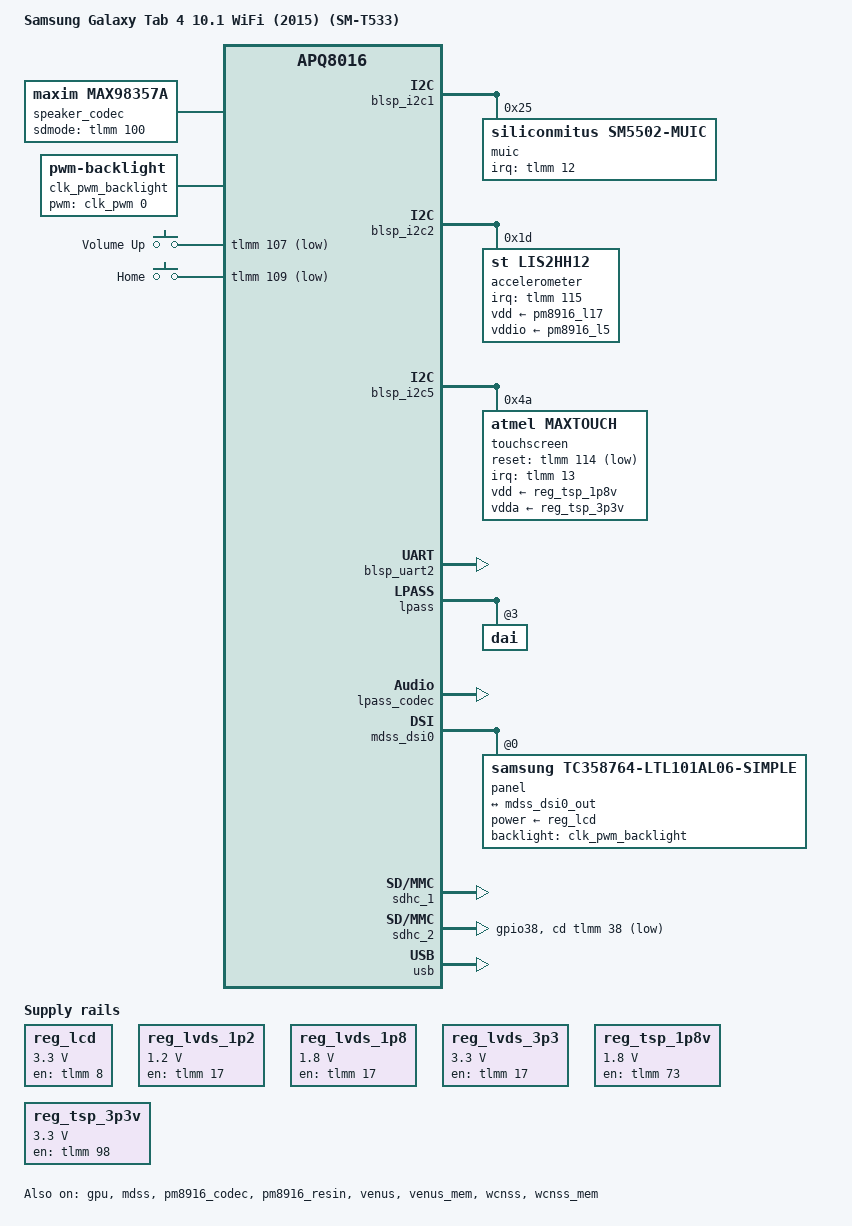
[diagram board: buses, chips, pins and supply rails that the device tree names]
// SPDX-License-Identifier: GPL-2.0-only

/dts-v1/;

#include "msm8916-pm8916.dtsi"
#include <dt-bindings/gpio/gpio.h>
#include <dt-bindings/input/input.h>
#include <dt-bindings/interrupt-controller/irq.h>
#include <dt-bindings/sound/apq8016-lpass.h>

/ {
	model = "Samsung Galaxy Tab 4 10.1 WiFi (2015) (SM-T533)";
	compatible = "samsung,matissevewifi", "qcom,apq8016";
	chassis-type = "tablet";

	aliases {
		mmc0 = &sdhc_1; /* eMMC */
		mmc1 = &sdhc_2; /* SD card */
		serial0 = &blsp_uart2;
	};

	chosen {
		stdout-path = "serial0";
	};

	reserved-memory {
		/* Additional memory used by Samsung firmware modifications */
		tz-apps@85500000 {
			reg = <0x0 0x85500000 0x0 0xb00000>;
			no-map;
		};
	};

	speaker_codec: audio-codec {
		compatible = "maxim,max98357a";
		sdmode-gpios = <&tlmm 100 GPIO_ACTIVE_HIGH>;
		#sound-dai-cells = <0>;
	};

	clk_pwm_backlight: backlight {
		compatible = "pwm-backlight";
		pwms = <&clk_pwm 0 100000>;

		brightness-levels = <0 255>;
		num-interpolated-steps = <255>;
		default-brightness-level = <128>;
	};

	clk_pwm: pwm {
		compatible = "clk-pwm";
		#pwm-cells = <2>;

		clocks = <&gcc GCC_GP3_CLK>;

		pinctrl-0 = <&backlight_pwm_default>;
		pinctrl-names = "default";
	};

	gpio-keys {
		compatible = "gpio-keys";

		pinctrl-0 = <&gpio_keys_default>;
		pinctrl-names = "default";

		label = "GPIO Buttons";

		volume-up-button {
			label = "Volume Up";
			gpios = <&tlmm 107 GPIO_ACTIVE_LOW>;
			linux,code = <KEY_VOLUMEUP>;
		};

		home-button {
			label = "Home";
			gpios = <&tlmm 109 GPIO_ACTIVE_LOW>;
			linux,code = <KEY_HOMEPAGE>;
		};
	};

	reg_lcd: regulator-lcd {
		compatible = "regulator-fixed";
		regulator-name = "lcd";
		regulator-min-microvolt = <3300000>;
		regulator-max-microvolt = <3300000>;
		regulator-boot-on;

		gpio = <&tlmm 8 GPIO_ACTIVE_HIGH>;
		enable-active-high;
		startup-delay-us = <500>;

		pinctrl-0 = <&lcd_en_default>;
		pinctrl-names = "default";
	};

	reg_lvds_1p2: regulator-lvds-1p2 {
		compatible = "regulator-fixed";
		regulator-name = "lvds_1p2";
		regulator-min-microvolt = <1200000>;
		regulator-max-microvolt = <1200000>;

		/* FIXME: Set up TC358764 DSI->LVDS bridge properly */
		regulator-always-on;
		regulator-boot-on;

		gpio = <&tlmm 17 GPIO_ACTIVE_HIGH>;
		enable-active-high;
		startup-delay-us = <200>;

		pinctrl-0 = <&lvds_en_default>;
		pinctrl-names = "default";
	};

	reg_lvds_1p8: regulator-lvds-1p8 {
		compatible = "regulator-fixed";
		regulator-name = "lvds_1p8";
		regulator-min-microvolt = <1800000>;
		regulator-max-microvolt = <1800000>;

		/* FIXME: Set up TC358764 DSI->LVDS bridge properly */
		regulator-always-on;
		regulator-boot-on;
		startup-delay-us = <200>;

		gpio = <&tlmm 17 GPIO_ACTIVE_HIGH>;
		enable-active-high;
	};

	reg_lvds_3p3: regulator-lvds-3p3 {
		compatible = "regulator-fixed";
		regulator-name = "lvds_3p3";
		regulator-min-microvolt = <3300000>;
		regulator-max-microvolt = <3300000>;

		/* FIXME: Set up TC358764 DSI->LVDS bridge properly */
		regulator-always-on;
		regulator-boot-on;
		startup-delay-us = <200>;

		gpio = <&tlmm 17 GPIO_ACTIVE_HIGH>;
		enable-active-high;
	};

	reg_tsp_1p8v: regulator-tsp-1p8v {
		compatible = "regulator-fixed";
		regulator-name = "tsp_1p8v";
		regulator-min-microvolt = <1800000>;
		regulator-max-microvolt = <1800000>;

		gpio = <&tlmm 73 GPIO_ACTIVE_HIGH>;
		enable-active-high;

		pinctrl-0 = <&tsp_en_default>;
		pinctrl-names = "default";
	};

	reg_tsp_3p3v: regulator-tsp-3p3v {
		compatible = "regulator-fixed";
		regulator-name = "tsp_3p3v";
		regulator-min-microvolt = <3300000>;
		regulator-max-microvolt = <3300000>;

		gpio = <&tlmm 98 GPIO_ACTIVE_HIGH>;
		enable-active-high;

		pinctrl-0 = <&tsp_en1_default>;
		pinctrl-names = "default";
	};
};

&blsp_i2c1 {
	status = "okay";

	muic: extcon@25 {
		compatible = "siliconmitus,sm5502-muic";
		reg = <0x25>;
		interrupt-parent = <&tlmm>;
		interrupts = <12 IRQ_TYPE_EDGE_FALLING>;
		pinctrl-0 = <&muic_int_default>;
		pinctrl-names = "default";
	};
};

&blsp_i2c2 {
	status = "okay";

	accelerometer@1d {
		compatible = "st,lis2hh12";
		reg = <0x1d>;

		interrupt-parent = <&tlmm>;
		interrupts = <115 IRQ_TYPE_LEVEL_HIGH>;
		interrupt-names = "INT1";

		vdd-supply = <&pm8916_l17>;
		vddio-supply = <&pm8916_l5>;

		st,drdy-int-pin = <1>;

		pinctrl-0 = <&accel_int_default>;
		pinctrl-names = "default";
	};
};

&blsp_i2c5 {
	status = "okay";

	touchscreen@4a {
		compatible = "atmel,maxtouch";
		reg = <0x4a>;
		interrupt-parent = <&tlmm>;
		interrupts = <13 IRQ_TYPE_LEVEL_LOW>;

		vdd-supply = <&reg_tsp_1p8v>;
		vdda-supply = <&reg_tsp_3p3v>;

		reset-gpios = <&tlmm 114 GPIO_ACTIVE_LOW>;

		pinctrl-0 = <&tsp_int_rst_default>;
		pinctrl-names = "default";

		/* The first 4 touch keys are never reported */
		linux,keycodes = <0 0 0 0 KEY_APPSELECT KEY_BACK>;
	};
};

&blsp_uart2 {
	status = "okay";
};

&gpu {
	status = "okay";
};

&lpass {
	status = "okay";

	dai@3 {
		reg = <MI2S_QUATERNARY>;
		qcom,playback-sd-lines = <1>;
	};
};

&lpass_codec {
	status = "okay";
};

&mdss {
	status = "okay";
};

&mdss_dsi0 {
	panel@0 {
		/* FIXME: Set up TC358764 DSI->LVDS bridge properly */
		compatible = "samsung,tc358764-ltl101al06-simple";
		reg = <0>;

		power-supply = <&reg_lcd>;
		backlight = <&clk_pwm_backlight>;

		port {
			panel_in: endpoint {
				remote-endpoint = <&mdss_dsi0_out>;
			};
		};
	};
};

&mdss_dsi0_out {
	data-lanes = <0 1 2 3>;
	remote-endpoint = <&panel_in>;
};

&pm8916_codec {
	jack-gpios = <&tlmm 110 GPIO_ACTIVE_LOW>;
	qcom,micbias-lvl = <2800>;
	qcom,mbhc-vtreshold-low = <75 150 237 450 500>;
	qcom,mbhc-vtreshold-high = <75 150 237 450 500>;

	pinctrl-0 = <&jack_default>;
	pinctrl-names = "default";

	status = "okay";
};

&pm8916_resin {
	linux,code = <KEY_VOLUMEDOWN>;
	status = "okay";
};

&pm8916_rpm_regulators {
	pm8916_l17: l17 {
		regulator-min-microvolt = <2850000>;
		regulator-max-microvolt = <2850000>;
	};
};

&sdhc_1 {
	status = "okay";
};

&sdhc_2 {
	pinctrl-0 = <&sdc2_default &sdc2_cd_default>;
	pinctrl-1 = <&sdc2_sleep &sdc2_cd_default>;
	pinctrl-names = "default", "sleep";

	cd-gpios = <&tlmm 38 GPIO_ACTIVE_LOW>;

	status = "okay";
};

&sound {
	pinctrl-0 = <&cdc_pdm_default &sec_mi2s_default>;
	pinctrl-1 = <&cdc_pdm_sleep &sec_mi2s_sleep>;
	pinctrl-names = "default", "sleep";

	model = "samsung-gt510";
	audio-routing =
		"AMIC1", "MIC BIAS External1",
		"AMIC2", "MIC BIAS Internal2",
		"AMIC3", "MIC BIAS External1";

	status = "okay";

	dai-link-primary {
		link-name = "Primary MI2S";

		cpu {
			sound-dai = <&lpass MI2S_PRIMARY>;
		};

		codec {
			sound-dai = <&lpass_codec 0>, <&pm8916_codec 0>;
		};
	};

	dai-link-tertiary {
		link-name = "Tertiary MI2S";

		cpu {
			sound-dai = <&lpass MI2S_TERTIARY>;
		};

		codec {
			sound-dai = <&lpass_codec 1>, <&pm8916_codec 1>;
		};
	};

	dai-link-quaternary {
		link-name = "Quaternary MI2S";

		cpu {
			sound-dai = <&lpass MI2S_QUATERNARY>;
		};

		codec {
			sound-dai = <&speaker_codec>;
		};
	};
};

&usb {
	extcon = <&muic>, <&muic>;
	status = "okay";
};

&usb_hs_phy {
	extcon = <&muic>;
};

&venus {
	status = "okay";
};

&venus_mem {
	status = "okay";
};

&wcnss {
	status = "okay";
};

&wcnss_iris {
	compatible = "qcom,wcn3660b";
};

&wcnss_mem {
	status = "okay";
};

&tlmm {
	accel_int_default: accel-int-default-state {
		pins = "gpio115";
		function = "gpio";
		drive-strength = <2>;
		bias-disable;
	};

	backlight_pwm_default: backlight-pwm-default-state {
		pins = "gpio51";
		function = "gcc_gp3_clk_a";
	};

	gpio_keys_default: gpio-keys-default-state {
		pins = "gpio107", "gpio109";
		function = "gpio";
		drive-strength = <2>;
		bias-pull-up;
	};

	jack_default: jack-default-state {
		pins = "gpio110";
		function = "gpio";
		drive-strength = <2>;
		bias-disable;
	};

	lcd_en_default: lcd-en-default-state {
		pins = "gpio8";
		function = "gpio";
		drive-strength = <2>;
		bias-disable;
	};

	lvds_en_default: lvds-en-default-state {
		pins = "gpio17";
		function = "gpio";
		drive-strength = <2>;
		bias-disable;
	};

	muic_int_default: muic-int-default-state {
		pins = "gpio12";
		function = "gpio";
		drive-strength = <2>;
		bias-disable;
	};

	sdc2_cd_default: sdc2-cd-default-state {
		pins = "gpio38";
		function = "gpio";
		drive-strength = <2>;
		bias-disable;
	};

	tsp_en_default: tsp-en-default-state {
		pins = "gpio73";
		function = "gpio";
		drive-strength = <2>;
		bias-disable;
	};

	tsp_en1_default: tsp-en1-default-state {
		pins = "gpio98";
		function = "gpio";
		drive-strength = <2>;
		bias-disable;
	};

	tsp_int_rst_default: tsp-int-rst-default-state {
		pins = "gpio13", "gpio114";
		function = "gpio";
		drive-strength = <2>;
		bias-disable;
	};
};
